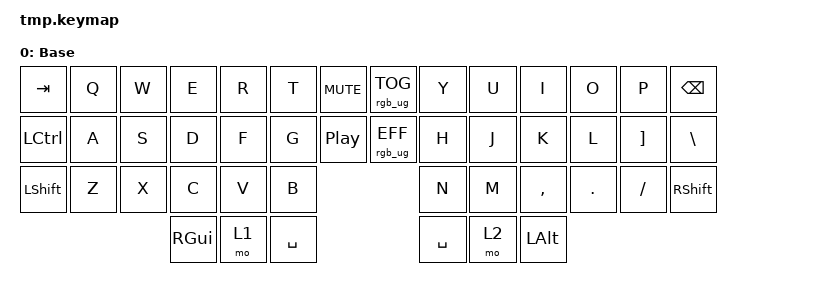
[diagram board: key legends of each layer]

/*
 * Copyright (c) 2020 The ZMK Contributors
 *
 * SPDX-License-Identifier: MIT
 */

#include <behaviors.dtsi>
#include <dt-bindings/zmk/keys.h>
#include <dt-bindings/zmk/bt.h>
#include <dt-bindings/zmk/rgb.h>

#define ZMK_POINTING_DEFAULT_MOVE_VAL 800  // default: 600
#define ZMK_POINTING_DEFAULT_SCRL_VAL 15    // default: 10
#include <dt-bindings/zmk/pointing.h>

#define DEF 0
#define NAV 1
#define SYM 2
#define ADJ 3


#define COMBO(NAME, BINDINGS, KEYPOS) \
    combo_##NAME { \
        timeout-ms = <50>; \
        bindings = <BINDINGS>; \
        key-positions = <KEYPOS>; \
        layers = <0>; \
        };


// / {
//     chosen {
//         zmk,physical-layout = &default_layout;
//     };
// };


//Row 0:      0   1   2   3   4   5   6       7   8   9  10  11  13  14
//Row 1:     15  16  17  18  19  20  21      22  23  24  25  26  27  28
//Row 2:     28  29  30  31  32  33              34  35  36  37  38  39
//Row 3:                 40  41  42              43  44  45 

/ {
//     combos {
//         compatible = "zmk,combos";
//         COMBO(ue, &kp LBKT, 3 9)
//         COMBO(ae, &kp SQT, 3 16)
//         COMBO(oe, &kp SEMI, 3 11)
//         COMBO(esc, &kp ESC, 0 1)
//         COMBO(delte, &kp DEL, 13 14)
//         COMBO(at, &kp  RA(Q), 1 15)
//         COMBO(scratch, &kp F12, 9 10 11)
//         combo_ret {
//             timeout-ms = <50>;
//             bindings = <&kp RET>;
//             key-positions = <25 26>;
//             layers = <0 1 2 4>;
//         };
//         combo_leftclick_r {
//             timeout-ms = <50>;
//             bindings = <&mkp LCLK>;
//             key-positions = <24 25>;
//             layers = <1>;
//         };
//         combo_rightclick_r {
//             timeout-ms = <50>;
//             bindings = <&mkp RCLK>;
//             key-positions = <26 27>;
//             layers = <1>;
//         };
//     }; //The first parameter is just an internal name, the second one the keypress we want to execute during the combo, and the last one is for the key positions.


    keymap {
        compatible = "zmk,keymap";
        
        DEF {
            display-name = "Base";
            bindings = <
&kp TAB   &kp Q  &kp W  &kp E     &kp R  &kp T      &kp C_MUTE   &rgb_ug RGB_TOG  &kp Y      &kp U  &kp I      &kp O    &kp P     &kp BACKSPACE
&kp LCTL  &kp A  &kp S  &kp D     &kp F  &kp G      &kp C_PP     &rgb_ug RGB_EFF  &kp H      &kp J  &kp K      &kp L    &kp RBKT  &kp BSLH
&kp LSHFT &kp Z  &kp X  &kp C     &kp V  &kp B                                    &kp N      &kp M  &kp COMMA  &kp DOT  &kp FSLH  &kp RSHFT
                        &kp RGUI  &mo 1  &kp SPACE                                &kp SPACE  &mo 2  &kp LALT   
            >;
        };
    };
};

//         NAV {
//             display-name = "Navi";
//             bindings = <
// &trans &none          &none          &mmv MOVE_UP    &none           &none &trans  &trans &kp HOME &kp PG_DN &kp PG_UP &kp END   &none  &trans
// &trans &msc SCRL_UP   &mmv MOVE_LEFT &mmv MOVE_DOWN  &mmv MOVE_RIGHT &none &trans  &trans &kp LEFT &kp DOWN  &kp UP    &kp RIGHT &none  &none
// &trans &msc SCRL_DOWN &none          &msc SCRL_LEFT  &msc SCRL_RIGHT &none                &none    &none     &none     &none     &none  &none
//                                      &trans          &trans          &trans               &trans   &trans    &trans    
//             >;
//         };

//         SYM {
//             display-name = "NumSym";
//             bindings = <
// &kp GRAVE &kp EXCLAMATION  &kp AT_SIGN   &kp HASH  &kp DOLLAR  &kp PERCENT &trans  &trans &kp CARET     &kp AMPERSAND  &kp ASTERISK &kp LEFT_PARENTHESIS &kp RIGHT_PARENTHESIS &trans
// &trans    &kp N1           &kp N2        &kp N3    &kp N4      &kp N5      &trans  &trans &kp N6        &kp N7         &kp N8       &kp N9               &kp N0                &kp RA(RIGHT_BRACKET)
// &trans    &kp NUBS         &kp RA(MINUS) &kp MINUS &kp EQUAL   &kp RA(E)                  &kp RA(NUBS)  &kp RA(N7)     &kp RA(N8)   &kp RA(N9)           &kp RA(N0)            &trans
//                                          &trans    &trans      &trans                     &trans        &trans         &trans 
//             >;
//         };
        
// ADJ {
//     display-name = "System";
//     bindings = <
// &trans  &kp F1        &kp F2        &kp F3        &kp F4        &kp F5       &bt BT_CLR      &bt BT_CLR_ALL &kp F6 &kp F7       &kp F8       &kp F9          &kp F10         &trans
// &trans  &kp F11       &kp F12       &trans        &trans        &none        &studio_unlock  &bootloader    &none  &kp C_VOL_UP &kp C_BRI_UP &rgb_ug RGB_BRI &rgb_ug RGB_SPI &rgb_ug RGB_HUI
// &trans  &bt BT_SEL 0  &bt BT_SEL 1  &bt BT_SEL 2  &bt BT_SEL 3  &bt BT_SEL 4                                &none  &kp C_VOL_DN &kp C_BRI_DN &rgb_ug RGB_BRD &rgb_ug RGB_SPD &rgb_ug RGB_HUD
//                                     &trans        &trans        &trans                                      &trans &trans       &trans 
//             >;
//         };

//     conditional_layers {
//         compatible = "zmk,conditional-layers";
// 
//         l3 {
//             if-layers = <1 2>;
//             then-layer = <3>;
//         };
//     };

// // ###################
// // orig
// // ###################
// / {
//     keymap {
//         compatible = "zmk,keymap";
// 
//         default_layer {
//             display-name = "QWERTY";
//             // --------------------------------------------------------------------------------
//             // |  TAB |  Q  |  W  |  E  |  R  |  T  |  MUTE |  PP   |  Y  |  U   |  I  |  O  |  P  | BSPC |
//             // | CTRL |  A  |  S  |  D  |  F  |  G  |  LALT |  RALT |  H  |  J   |  K  |  L  |  ;  |  '   |
//             // | SHFT |  Z  |  X  |  C  |  V  |  B  |               |  N  |  M   |  ,  |  .  |  /  | ESC  |
//             //                    | GUI | LWR | SPC |               | ENT | RSE  | ALT |
//             bindings = <
//                 &kp TAB   &kp Q &kp W &kp E &kp R &kp T &kp C_MUTE &kp C_PP &kp Y &kp U  &kp I     &kp O   &kp P    &kp BSPC
//                 &kp LCTRL &kp A &kp S &kp D &kp F &kp G &kp LALT   &kp RALT &kp H &kp J  &kp K     &kp L   &kp SEMI &kp SQT
//                 &kp LSHFT &kp Z &kp X &kp C &kp V &kp B                     &kp N &kp M  &kp COMMA &kp DOT &kp FSLH &kp ESC
//                                       &kp LGUI &mo 1 &kp SPACE              &kp RET &mo 2 &kp RALT
//             >;
//             sensor-bindings = <&inc_dec_kp C_VOL_DN C_VOL_UP &inc_dec_kp PG_UP PG_DN &inc_dec_kp C_PREV C_NEXT &inc_dec_kp C_VOL_DN C_VOL_UP>;
//         };
// 
//         lower_layer {
//             display-name = "NUMBER";
//             // -----------------------------------------------------------------------------------------
//             // |  TAB |  1  |  2  |  3  |  4  |  5    |  LCTRL | RCTRL |  6  |  7  |  8  |  9  |  0  | BSPC |
//             // | CTRL | BT1 | BT2 | BT3 | BT4 | BT5   |  LALT  | RALT  | LFT | DWN |  UP | RGT |     |      |
//             // | SHFT | BTCR| RGB | RST | BOOT| Unlock|        |       |     |     |     |     |     |      |
//             //                    | GUI |     | SPC   |        | ENT   |     | ALT |
//             bindings = <
//                 &kp TAB   &kp N1       &kp N2          &kp N3       &kp N4       &kp N5       &kp LCTRL &kp RCTRL &kp N6   &kp N7   &kp N8 &kp N9    &kp N0 &kp BSPC
//                 &kp LCTRL &bt BT_SEL 0 &bt BT_SEL 1    &bt BT_SEL 2 &bt BT_SEL 3 &bt BT_SEL 4 &kp LALT  &kp RALT  &kp LEFT &kp DOWN &kp UP &kp RIGHT &trans &trans
//                 &kp LSHFT &bt BT_CLR   &rgb_ug RGB_TOG &sys_reset   &bootloader  &studio_unlock                   &trans   &trans   &trans &trans    &trans &trans
//                                                        &kp LGUI     &trans       &kp SPACE                        &kp LGUI &trans   &kp SPACE
//             >;
//         };
// 
//         raise_layer {
//             display-name = "SYMBOL";
//             // -----------------------------------------------------------------------------------------
//             // |  TAB |  !  |  @  |  #  |  $  |  %  | LCTRL | RCTRL |  ^  |  &  |  *  |  (  |  )  | BSPC |
//             // | CTRL | HUD | HUI |     |     |     |  LALT | RALT  |  -  |  =  |  [  |  ]  |  \  |  `   |
//             // | SHFT |     |     |     |     |     |               |  _  |  +  |  {  |  }  | "|" |  ~   |
//             //                    | GUI |     | SPC |               | ENT |     | ALT |
//             bindings = <
//                 &kp  TAB  &kp EXCL        &kp AT          &kp HASH &kp DLLR &kp PRCNT &kp LCTRL &kp RCTRL &kp CARET &kp AMPS  &kp ASTRK &kp LPAR &kp RPAR &kp BSPC
//                 &kp LCTRL &rgb_ug RGB_HUD &rgb_ug RGB_HUI &trans   &trans   &trans    &kp LALT  &kp RALT  &kp MINUS &kp EQUAL &kp LBKT  &kp RBKT &kp BSLH &kp GRAVE
//                 &kp LSHFT &trans          &trans          &trans   &trans   &trans                        &kp UNDER &kp PLUS  &kp LBRC  &kp RBRC &kp PIPE &kp TILDE
//                                                           &kp LGUI &trans   &kp SPACE                     &kp RET   &trans    &kp RALT
//             >;
//         };
// 
//         extra_layer_1 {
//             display-name = "EXTRA 1";
//             bindings = <
//                 &trans &trans &trans &trans &trans &trans &trans &trans &trans &trans &trans &trans &trans &trans
//                 &trans &trans &trans &trans &trans &trans &trans &trans &trans &trans &trans &trans &trans &trans
//                 &trans &trans &trans &trans &trans &trans               &trans &trans &trans &trans &trans &trans
//                                      &trans &trans &trans               &trans &trans &trans       
//             >;
//         };
// 
//         extra_layer_2 {
//             display-name = "EXTRA 2";
//             bindings = <
//                 &trans &trans &trans &trans &trans &trans &trans &trans &trans &trans &trans &trans &trans &trans
//                 &trans &trans &trans &trans &trans &trans &trans &trans &trans &trans &trans &trans &trans &trans
//                 &trans &trans &trans &trans &trans &trans               &trans &trans &trans &trans &trans &trans
//                                      &trans &trans &trans               &trans &trans &trans       
//             >;
//         };
// 
//         extra_layer_3 {
//             display-name = "EXTRA 3";
//             bindings = <
//                 &trans &trans &trans &trans &trans &trans &trans &trans &trans &trans &trans &trans &trans &trans
//                 &trans &trans &trans &trans &trans &trans &trans &trans &trans &trans &trans &trans &trans &trans
//                 &trans &trans &trans &trans &trans &trans               &trans &trans &trans &trans &trans &trans
//                                      &trans &trans &trans               &trans &trans &trans       
//             >;
//         };
// 
//         extra_layer_4 {
//             display-name = "EXTRA 4";
//             bindings = <
//                 &trans &trans &trans &trans &trans &trans &trans &trans &trans &trans &trans &trans &trans &trans
//                 &trans &trans &trans &trans &trans &trans &trans &trans &trans &trans &trans &trans &trans &trans
//                 &trans &trans &trans &trans &trans &trans               &trans &trans &trans &trans &trans &trans
//                                      &trans &trans &trans               &trans &trans &trans       
//             >;
//         };
// 
//         extra_layer_5 {
//             display-name = "EXTRA 5";
//             bindings = <
//                 &trans &trans &trans &trans &trans &trans &trans &trans &trans &trans &trans &trans &trans &trans
//                 &trans &trans &trans &trans &trans &trans &trans &trans &trans &trans &trans &trans &trans &trans
//                 &trans &trans &trans &trans &trans &trans               &trans &trans &trans &trans &trans &trans
//                                      &trans &trans &trans               &trans &trans &trans       
//             >;
//         };
// 
//         extra_layer_6 {
//             display-name = "EXTRA 6";
//             bindings = <
//                 &trans &trans &trans &trans &trans &trans &trans &trans &trans &trans &trans &trans &trans &trans
//                 &trans &trans &trans &trans &trans &trans &trans &trans &trans &trans &trans &trans &trans &trans
//                 &trans &trans &trans &trans &trans &trans               &trans &trans &trans &trans &trans &trans
//                                      &trans &trans &trans               &trans &trans &trans       
//             >;
//         };
//     };
// };
// 
